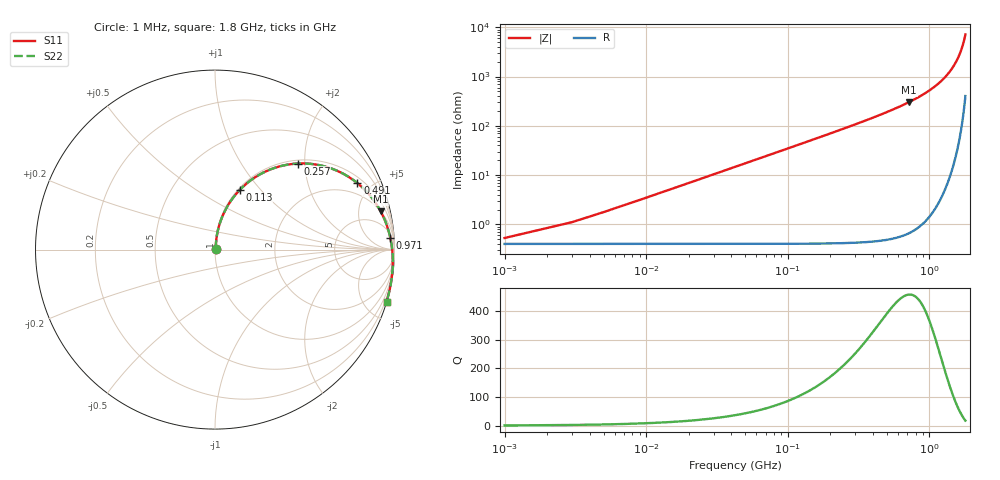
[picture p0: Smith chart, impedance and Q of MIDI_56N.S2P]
! Coilcraft 1812SMS-56N Midi Spring Air Core Inductor
! 10 June 2003
# MHZ S MA R 50
!Freq  MagS11  AngS11  MagS21  AngS21  MagS12  AngS12  MagS22  AngS22
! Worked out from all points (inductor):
!   901 points, 1 MHz to 1.8 GHz, reference 50 ohm
!   read as one part in series: L = 55 nH near 9 MHz
!   highest Q = 457 at 719 MHz (marker M1), where L = 67 nH
!   S11 on the Smith chart (normalised r, x): 1 MHz: 1.01, +0.01; 113 MHz: 1.02, +0.77; 257 MHz: 1.07, +1.84; 491 MHz: 1.30, +4.12; 971 MHz: 9, +27; 1.8 GHz: 0.03, -6.74
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1  0.005235 40.0  0.996 -0.2  0.996 -0.2  0.005236 40.0
5  0.01736 75.7  0.9959 -1.0  0.9959 -1.0  0.01736 75.7
11  0.03735 81.6  0.9953 -2.2  0.9953 -2.2  0.03736 81.7
15  0.05077 82.5  0.9947 -3.0  0.9947 -3.0  0.05079 82.5
21  0.07089 82.6  0.9935 -4.2  0.9935 -4.2  0.07091 82.6
31  0.1043 81.6  0.9906 -6.2  0.9906 -6.2  0.1043 81.6
45  0.1505 79.5  0.9847 -9.0  0.9847 -9.0  0.1505 79.5
63  0.2085 76.4  0.9741 -12.5  0.9741 -12.5  0.2086 76.4
113  0.3581 67.6  0.9299 -21.8  0.9299 -21.8  0.3582 67.6
175  0.5131 57.4  0.8548 -32.2  0.8548 -32.2  0.5133 57.4
257  0.6645 46.2  0.7441 -43.6  0.7441 -43.6  0.6647 46.2
301  0.7244 41.1  0.6863 -48.7  0.6863 -48.7  0.7247 41.1
391  0.8131 32.5  0.5793 -57.3  0.5793 -57.3  0.8134 32.5
491  0.8757 25.0  0.4803 -64.8  0.4803 -64.8  0.8759 25.0
601  0.9186 18.6  0.3926 -71.3  0.3926 -71.3  0.9189 18.6
719  0.9474 13.0  0.3175 -76.9  0.3175 -76.9  0.9477 13.0
901  0.9728 6.1  0.2286 -83.7  0.2286 -83.7  0.9731 6.1
971  0.9789 3.9  0.2007 -86.0  0.2007 -86.0  0.9792 3.9
1201  0.9913 -2.7  0.1263 -92.4  0.1263 -92.4  0.9916 -2.7
1501  0.9975 -10.0  0.05782 -99.4  0.05782 -99.4  0.9977 -10.0
1673  0.9986 -14.0  0.02966 -102.6  0.02966 -102.6  0.9989 -14.0
1800  0.9988 -16.9  0.01366 -103.7  0.01366 -103.7  0.9991 -16.9
